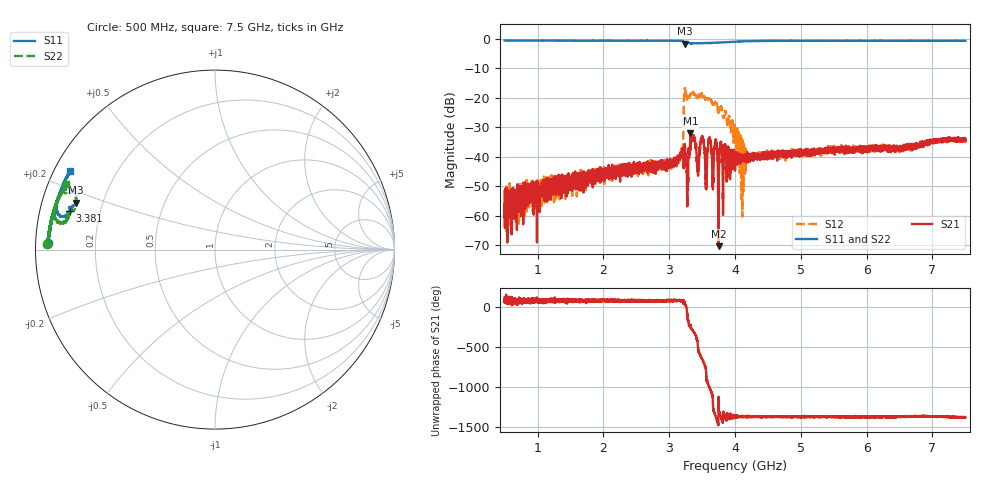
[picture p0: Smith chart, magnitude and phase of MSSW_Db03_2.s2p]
!Keysight Technologies,M9374A,MY55442783,A.12.55.05
!Date: Wednesday, May 19, 2021 15:39:37
!Correction: S11(Full 2 Port(1,2))
!S21(Full 2 Port(1,2))
!S12(Full 2 Port(1,2))
!S22(Full 2 Port(1,2))
!S2P File: Measurements: S11, S21, S12, S22:
# Hz S  RI  R 50
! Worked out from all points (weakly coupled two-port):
!   7001 points, 500 MHz to 7.5 GHz, reference 50 ohm
!   highest |S21| = -32.01 dB at 3.323 GHz (marker M1); lowest = -70.3 dB at 3.75 GHz (marker M2)
!   lowest |S11| = -1.7 dB at 3.24 GHz (marker M3), VSWR 10.03, Z = 5.12 + j8.09 ohm
!   |S11| at or under -10 dB: nowhere
!   |S22| runs from -1.8 to -0.6 dB; largest |S21 - S12| = 0.14
!   S11 on the Smith chart (normalised r, x): 500 MHz: 0.03, +0.02; 3.381 GHz: 0.09, +0.13; 7.5 GHz: 0.05, +0.25
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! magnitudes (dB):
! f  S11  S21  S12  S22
! 500 MHz  -0.6  -60.5  -57.9  -0.6
! 732 MHz  -0.6  -57.6  -53.4  -0.6
! 1.667 GHz  -0.7  -47.0  -45.4  -0.6
! 2.834 GHz  -0.7  -42.6  -42.1  -0.6
! 3.174 GHz  -0.8  -39.9  -38.9  -0.7
! 3.24 GHz  -1.7  -36.3  -16.9  -1.8
! 3.256 GHz  -1.6  -40.9  -19.2  -1.6
! 3.283 GHz  -1.5  -46.6  -20.7  -1.4
! 3.323 GHz  -1.5  -32.0  -18.9  -1.5
! 3.381 GHz  -1.5  -34.4  -19.1  -1.5
! 3.432 GHz  -1.5  -43.7  -19.7  -1.5
! 3.5 GHz  -1.5  -33.8  -18.8  -1.5
! 3.557 GHz  -1.4  -50.8  -21.2  -1.4
! 3.613 GHz  -1.5  -33.6  -19.8  -1.4
! 3.655 GHz  -1.4  -44.0  -22.4  -1.4
! 3.707 GHz  -1.4  -34.4  -21.3  -1.4
! 3.75 GHz  -1.3  -70.3  -25.0  -1.3
! 4 GHz  -1.0  -44.1  -29.2  -1.0
! 4.126 GHz  -0.9  -40.7  -45.2  -0.9
! 5.167 GHz  -0.7  -37.9  -38.6  -0.7
! 6.334 GHz  -0.7  -37.6  -37.3  -0.8
! 7.5 GHz  -0.7  -33.9  -34.4  -0.8
